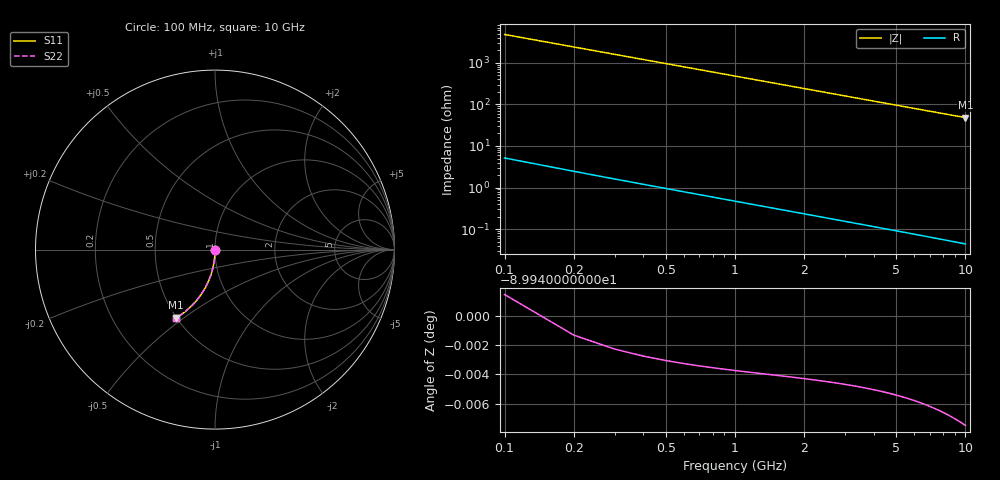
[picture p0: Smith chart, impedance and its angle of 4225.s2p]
# Hz S RI R 50.00
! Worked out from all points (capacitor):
!   100 points, 100 MHz to 10 GHz, reference 50 ohm
!   read as one part in shunt: C = 332 fF near 100 MHz
!   lowest |Z| = 48.2 ohm at 10 GHz (marker M1)
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1e8  9.35e-05 -0.00489  0.9998 -0.00553  0.9998 -0.00553  9.35e-05 -0.00489
2e8  8.22e-06 -0.00978  0.9998 -0.0111  0.9998 -0.0111  8.22e-06 -0.00978
3e8  -0.000131 -0.0147  0.9996 -0.0166  0.9996 -0.0166  -0.000131 -0.0147
4e8  -0.000325 -0.0196  0.9994 -0.0221  0.9994 -0.0221  -0.000325 -0.0196
5e8  -0.000573 -0.0244  0.9992 -0.0276  0.9992 -0.0276  -0.000573 -0.0244
6e8  -0.000874 -0.0293  0.9989 -0.0331  0.9989 -0.0331  -0.000874 -0.0293
7e8  -0.00123 -0.0342  0.9985 -0.0386  0.9985 -0.0386  -0.00123 -0.0342
8e8  -0.00164 -0.0391  0.9981 -0.0441  0.9981 -0.0441  -0.00164 -0.0391
9e8  -0.0021 -0.0439  0.9976 -0.0496  0.9976 -0.0496  -0.0021 -0.0439
1.1e9  -0.00319 -0.0536  0.9965 -0.0606  0.9965 -0.0606  -0.00319 -0.0536
1.4e9  -0.00521 -0.0681  0.9945 -0.077  0.9945 -0.077  -0.00521 -0.0681
1.8e9  -0.00865 -0.0873  0.991 -0.0987  0.991 -0.0987  -0.00865 -0.0873
2.1e9  -0.0118 -0.1015  0.9879 -0.1148  0.9879 -0.1148  -0.0118 -0.1015
2.5e9  -0.0166 -0.1202  0.983 -0.1361  0.983 -0.1361  -0.0166 -0.1202
2.9e9  -0.0223 -0.1387  0.9773 -0.1571  0.9773 -0.1571  -0.0223 -0.1387
3.4e9  -0.0305 -0.1612  0.969 -0.1828  0.969 -0.1828  -0.0305 -0.1612
4.2e9  -0.0458 -0.1959  0.9535 -0.2227  0.9535 -0.2227  -0.0458 -0.1959
5.1e9  -0.0663 -0.2327  0.9329 -0.2652  0.9329 -0.2652  -0.0663 -0.2327
5.9e9  -0.0869 -0.2631  0.9121 -0.3007  0.9121 -0.3007  -0.0869 -0.2631
6.7e9  -0.1095 -0.2911  0.8893 -0.3339  0.8893 -0.3339  -0.1095 -0.2911
8.4e9  -0.1627 -0.3424  0.8356 -0.3963  0.8356 -0.3963  -0.1627 -0.3424
1e10  -0.2167 -0.3801  0.7809 -0.4445  0.7809 -0.4445  -0.2167 -0.3801
